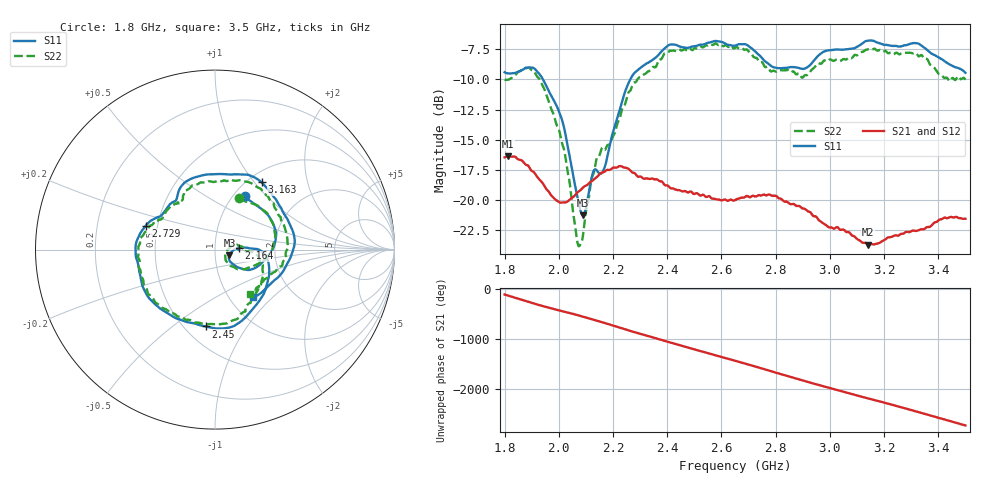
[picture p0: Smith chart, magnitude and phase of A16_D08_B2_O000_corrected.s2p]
! Created with skrf 1.9.0 (http://scikit-rf.org).
# Hz S RI R 50.0
!freq ReS11 ImS11 ReS21 ImS21 ReS12 ImS12 ReS22 ImS22
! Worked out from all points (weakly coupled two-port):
!   1601 points, 1.8 GHz to 3.5 GHz, reference 50 ohm
!   highest |S21| = -16.38 dB at 1.812 GHz (marker M1); lowest = -23.7 dB at 3.142 GHz (marker M2)
!   lowest |S11| = -21.3 dB at 2.09 GHz (marker M3), VSWR 1.19, Z = 58.6 - j3.69 ohm
!   |S11| at or under -10 dB: 1.942 GHz to 2.264 GHz (321.9 MHz wide, 15.3 % of centre)
!   |S22| runs from -23.8 to -7.0 dB; largest |S21 - S12| = 0.003
!   S11 on the Smith chart (normalised r, x): 1.8 GHz: 1.13, +0.75; 2.164 GHz: 1.31, +0.02; 2.45 GHz: 0.63, -0.66; 2.729 GHz: 0.43, +0.14; 3.163 GHz: 1.15, +1.09; 3.5 GHz: 1.28, -0.76
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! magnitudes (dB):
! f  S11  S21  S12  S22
! 1.8 GHz  -9.4  -16.5  -16.5  -10.0
! 1.812 GHz  -9.5  -16.4  -16.4  -10.0
! 1.887 GHz  -9.0  -17.2  -17.2  -9.0
! 1.94 GHz  -9.9  -18.6  -18.6  -10.5
! 2.011 GHz  -13.3  -20.2  -20.2  -15.3
! 2.067 GHz  -19.5  -19.4  -19.4  -23.3
! 2.084 GHz  -21.1  -19.1  -19.1  -23.5
! 2.09 GHz  -21.3  -18.9  -19.0  -22.8
! 2.128 GHz  -17.6  -18.3  -18.3  -17.8
! 2.164 GHz  -17.5  -17.7  -17.6  -15.7
! 2.26 GHz  -10.2  -17.5  -17.5  -11.0
! 2.367 GHz  -8.0  -18.4  -18.3  -8.4
! 2.45 GHz  -7.3  -19.2  -19.2  -7.6
! 2.65 GHz  -7.2  -20.0  -20.0  -7.4
! 2.729 GHz  -7.8  -19.7  -19.7  -8.2
! 2.802 GHz  -9.0  -19.7  -19.7  -9.3
! 2.934 GHz  -8.6  -21.2  -21.2  -9.2
! 3.142 GHz  -6.8  -23.7  -23.6  -7.5
! 3.163 GHz  -6.8  -23.7  -23.7  -7.5
! 3.217 GHz  -7.2  -23.1  -23.1  -7.8
! 3.325 GHz  -7.0  -22.5  -22.5  -8.0
! 3.5 GHz  -9.5  -21.6  -21.5  -10.0
